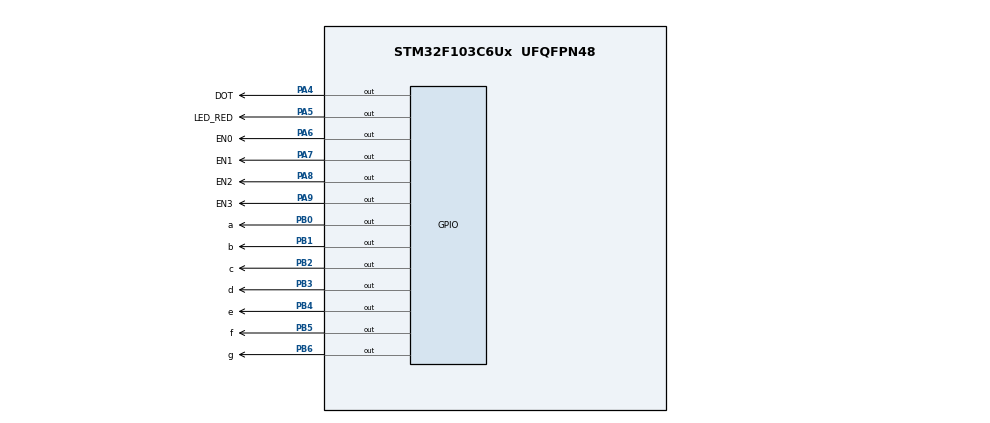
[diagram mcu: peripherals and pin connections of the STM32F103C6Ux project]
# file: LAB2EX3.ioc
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Mcu.Family=STM32F1
Mcu.Name=STM32F103C6Ux
Mcu.Package=UFQFPN48
NVIC.PriorityGroup=NVIC_PRIORITYGROUP_4
NVIC.TIM2_IRQn=true\:0\:0\:false\:false\:true\:true\:true
PA4.GPIO_Label=DOT
PA4.Signal=GPIO_Output
PA5.GPIO_Label=LED_RED
PA5.Signal=GPIO_Output
PA6.GPIO_Label=EN0
PA6.Signal=GPIO_Output
PA7.GPIO_Label=EN1
PA7.Signal=GPIO_Output
PA8.GPIO_Label=EN2
PA8.Signal=GPIO_Output
PA9.GPIO_Label=EN3
PA9.Signal=GPIO_Output
PB0.GPIO_Label=a
PB0.Signal=GPIO_Output
PB1.GPIO_Label=b
PB1.Signal=GPIO_Output
PB2.GPIO_Label=c
PB2.Signal=GPIO_Output
PB3.GPIO_Label=d
PB3.Signal=GPIO_Output
PB4.GPIO_Label=e
PB4.Signal=GPIO_Output
PB5.GPIO_Label=f
PB5.Signal=GPIO_Output
PB6.GPIO_Label=g
PB6.Signal=GPIO_Output
ProjectManager.HeapSize=0x200
ProjectManager.StackSize=0x400
ProjectManager.TargetToolchain=STM32CubeIDE
RCC.APB1Freq_Value=8000000
RCC.APB2Freq_Value=8000000
TIM2.Period=9
TIM2.Prescaler=7999
VP_SYS_VS_ND.Mode=No_Debug
VP_TIM2_VS_ClockSourceINT.Mode=Internal
board=custom

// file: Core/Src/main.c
/* USER CODE BEGIN Header */
/**
  ******************************************************************************
  * @file           : main.c
  * @brief          : Main program body
  ******************************************************************************
  * @attention
  *
  * <h2><center>&copy; Copyright (c) 2026 STMicroelectronics.
  * All rights reserved.</center></h2>
  *
  * This software component is licensed by ST under BSD 3-Clause license,
  * the "License"; You may not use this file except in compliance with the
  * License. You may obtain a copy of the License at:
  *                        opensource.org/licenses/BSD-3-Clause
  *
  ******************************************************************************
  */
/* USER CODE END Header */
#include "main.h"

TIM_HandleTypeDef htim2;

/* USER CODE BEGIN PV */
int switchCounter = 0;
int dotCounter = 0;
int displayIndex = 0;

void display7SEG(int num)
{
    const uint8_t code[10][7] =
    {
        {1,1,1,1,1,1,0}, // 0
        {0,1,1,0,0,0,0}, // 1
        {1,1,0,1,1,0,1}, // 2
        {1,1,1,1,0,0,1}, // 3
        {0,1,1,0,0,1,1}, // 4
        {1,0,1,1,0,1,1}, // 5
        {1,0,1,1,1,1,1}, // 6
        {1,1,1,0,0,0,0}, // 7
        {1,1,1,1,1,1,1}, // 8
        {1,1,1,1,0,1,1}  // 9
    };

    uint16_t pin[7] =
    {
        a_Pin,
        b_Pin,
        c_Pin,
        d_Pin,
        e_Pin,
        f_Pin,
        g_Pin
    };

    for (int i = 0; i < 7; i++)
    {
        HAL_GPIO_WritePin(GPIOB,pin[i], code[num][i] ? GPIO_PIN_RESET : GPIO_PIN_SET);
    }
}

//ex3
const int MAX_LED = 4;
int index_led = 0;
int led_buffer[4] = {1, 2, 3, 4};
void update7SEG(int index) {
	//anode led
	HAL_GPIO_WritePin(EN0_GPIO_Port, EN0_Pin, GPIO_PIN_SET);
	HAL_GPIO_WritePin(EN1_GPIO_Port, EN1_Pin, GPIO_PIN_SET);
	HAL_GPIO_WritePin(EN2_GPIO_Port, EN2_Pin, GPIO_PIN_SET);
	HAL_GPIO_WritePin(EN3_GPIO_Port, EN3_Pin, GPIO_PIN_SET);
	switch (index) {
	case 0:
		display7SEG(led_buffer[0]);
		HAL_GPIO_WritePin(EN0_GPIO_Port, EN0_Pin, GPIO_PIN_RESET);
		break;
	case 1:
		display7SEG(led_buffer[1]);
		HAL_GPIO_WritePin(EN1_GPIO_Port, EN1_Pin, GPIO_PIN_RESET);
		break;
	case 2:
		display7SEG(led_buffer[2]);
		HAL_GPIO_WritePin(EN2_GPIO_Port, EN2_Pin, GPIO_PIN_RESET);
		break;
	case 3:
		display7SEG(led_buffer[3]);
		HAL_GPIO_WritePin(EN3_GPIO_Port, EN3_Pin, GPIO_PIN_RESET);
		break;
	default:
		break;
	}
}

//EX4
int ledScanCounter = 0;

//ex5
int hour = 15;
int minute = 8;
int second = 50;

void updateClockBuffer() {
	led_buffer[0] = hour/10;
	led_buffer[1] = hour%10;
	led_buffer[2] = minute/10;
	led_buffer[3] = minute%10;
}

//ex6
int timer0_counter = 0;
int timer0_flag = 0;
int TIMER_CYCLE = 10;
void setTimer0(int duration) {
	timer0_counter = duration / TIMER_CYCLE;
	timer0_flag = 0;
}

void timer_run() {
	if (timer0_counter > 0) {
		timer0_counter--;
		if (timer0_counter <= 0) {
			timer0_flag = 1;
		}
	}
}

//ex7
int timer1_counter = 0;
int timer1_flag = 0;

int timer2_counter = 0;
int timer2_flag = 0;

void setTimer1(int duration) {
	timer1_counter = duration / TIMER_CYCLE;
	timer1_flag = 0;
}

void setTimer2(int duration) {
	timer2_counter = duration / TIMER_CYCLE;
	timer2_flag = 0;
}

void timer1_run() {
	if (timer1_counter > 0) {
		timer1_counter--;
		if (timer1_counter <= 0) {
			timer1_flag = 1;
		}
	}
}

void timer2_run() {
	if (timer2_counter > 0) {
		timer2_counter--;
		if (timer2_counter <= 0) {
			timer2_flag = 1;
		}
	}
}

//ex8
int timer3_counter = 0;
int timer3_flag = 0;

void setTimer3(int duration) {
	timer3_counter = duration / TIMER_CYCLE;
	timer3_flag = 0;
}

void timer3_run() {
	if (timer3_counter > 0) {
		timer3_counter--;
		if (timer3_counter <= 0) {
			timer3_flag = 1;
		}
	}
}
/* USER CODE END PV */

void SystemClock_Config(void);
static void MX_GPIO_Init(void);
static void MX_TIM2_Init(void);

int main(void)
{

  /* MCU Configuration--------------------------------------------------------*/

  /* Reset of all peripherals, Initializes the Flash interface and the Systick. */
  HAL_Init();

  /* Configure the system clock */
  SystemClock_Config();

  /* USER CODE BEGIN SysInit */
  SystemClock_Config () ;
  /* USER CODE END SysInit */

  /* Initialize all configured peripherals */
  MX_GPIO_Init();
  MX_TIM2_Init();
  /* USER CODE BEGIN 2 */

  /* Configure the system clock */

  /* USER CODE BEGIN SysInit */
  SystemClock_Config () ;
  /* USER CODE END SysInit */

  /* Initialize all configured peripherals */
  MX_GPIO_Init();
  MX_TIM2_Init();

  HAL_TIM_Base_Start_IT(&htim2);
  updateClockBuffer(); // ex5
  /* USER CODE BEGIN 2 */
  /* USER CODE END 2 */

  /* Infinite loop */
  /* USER CODE BEGIN WHILE */
//ex6
  setTimer0(1000);

//ex7
  setTimer1(1000);
  setTimer2(1000);

//ex8
  setTimer3(250);
  while (1)
  {
    /* USER CODE END WHILE */
//ex5
//	second++;
//	if (second >= 60) {
//		second = 0;
//		minute++;
//	}
//
//	if (minute >= 60) {
//		minute = 0;
//		hour++;
//	}
//
//	if (hour >= 24) {
//		hour = 0;
//	}
//
//	updateClockBuffer();
//	HAL_Delay(1000);

//ex6
//	if (timer0_flag == 1) {
//		HAL_GPIO_TogglePin(LED_RED_GPIO_Port, LED_RED_Pin);
//		setTimer0(2000);
//	}

//ex7
	if (timer1_flag == 1) {
		second++;
		if (second >= 60) {
			second = 0;
			minute++;
		}
		if (minute >= 60) {
			minute = 0;
			hour++;
		}
		if (hour >= 24) {
			hour = 0;
		}
		updateClockBuffer();
		setTimer1(1000);
	}

	if (timer2_flag == 1) {
		HAL_GPIO_TogglePin(DOT_GPIO_Port, DOT_Pin);
		setTimer2(1000);
	}

	if (timer0_flag == 1) {
		HAL_GPIO_TogglePin(LED_RED_GPIO_Port, LED_RED_Pin);
		setTimer0(2000);
	}

//ex8
	if (timer3_flag == 1) {
		update7SEG(index_led);
		index_led++;
		if (index_led >= MAX_LED) {
			index_led = 0;
		}
		setTimer3(250);
	}
  }
}

void SystemClock_Config(void)
{
  RCC_OscInitTypeDef RCC_OscInitStruct = {0};
  RCC_ClkInitTypeDef RCC_ClkInitStruct = {0};

  /** Initializes the RCC Oscillators according to the specified parameters
  * in the RCC_OscInitTypeDef structure.
  */
  RCC_OscInitStruct.OscillatorType = RCC_OSCILLATORTYPE_HSI;
  RCC_OscInitStruct.HSIState = RCC_HSI_ON;
  RCC_OscInitStruct.HSICalibrationValue = RCC_HSICALIBRATION_DEFAULT;
  RCC_OscInitStruct.PLL.PLLState = RCC_PLL_NONE;
  if (HAL_RCC_OscConfig(&RCC_OscInitStruct) != HAL_OK)
  {
    Error_Handler();
  }
  /** Initializes the CPU, AHB and APB buses clocks
  */
  RCC_ClkInitStruct.ClockType = RCC_CLOCKTYPE_HCLK|RCC_CLOCKTYPE_SYSCLK
                              |RCC_CLOCKTYPE_PCLK1|RCC_CLOCKTYPE_PCLK2;
  RCC_ClkInitStruct.SYSCLKSource = RCC_SYSCLKSOURCE_HSI;
  RCC_ClkInitStruct.AHBCLKDivider = RCC_SYSCLK_DIV1;
  RCC_ClkInitStruct.APB1CLKDivider = RCC_HCLK_DIV1;
  RCC_ClkInitStruct.APB2CLKDivider = RCC_HCLK_DIV1;

  if (HAL_RCC_ClockConfig(&RCC_ClkInitStruct, FLASH_LATENCY_0) != HAL_OK)
  {
    Error_Handler();
  }
}

static void MX_TIM2_Init(void)
{

  TIM_ClockConfigTypeDef sClockSourceConfig = {0};
  TIM_MasterConfigTypeDef sMasterConfig = {0};

  htim2.Instance = TIM2;
  htim2.Init.Prescaler = 7999;
  htim2.Init.CounterMode = TIM_COUNTERMODE_UP;
  htim2.Init.Period = 9;
  htim2.Init.ClockDivision = TIM_CLOCKDIVISION_DIV1;
  htim2.Init.AutoReloadPreload = TIM_AUTORELOAD_PRELOAD_DISABLE;
  if (HAL_TIM_Base_Init(&htim2) != HAL_OK)
  {
    Error_Handler();
  }
  sClockSourceConfig.ClockSource = TIM_CLOCKSOURCE_INTERNAL;
  if (HAL_TIM_ConfigClockSource(&htim2, &sClockSourceConfig) != HAL_OK)
  {
    Error_Handler();
  }
  sMasterConfig.MasterOutputTrigger = TIM_TRGO_RESET;
  sMasterConfig.MasterSlaveMode = TIM_MASTERSLAVEMODE_DISABLE;
  if (HAL_TIMEx_MasterConfigSynchronization(&htim2, &sMasterConfig) != HAL_OK)
  {
    Error_Handler();
  }

}

static void MX_GPIO_Init(void)
{
  GPIO_InitTypeDef GPIO_InitStruct = {0};

  /* GPIO Ports Clock Enable */
  __HAL_RCC_GPIOA_CLK_ENABLE();
  __HAL_RCC_GPIOB_CLK_ENABLE();

  /*Configure GPIO pin Output Level */
  HAL_GPIO_WritePin(GPIOA, DOT_Pin|LED_RED_Pin|EN0_Pin|EN1_Pin
                          |EN2_Pin|EN3_Pin, GPIO_PIN_RESET);

  /*Configure GPIO pin Output Level */
  HAL_GPIO_WritePin(GPIOB, a_Pin|b_Pin|c_Pin|d_Pin
                          |e_Pin|f_Pin|g_Pin, GPIO_PIN_RESET);

  /*Configure GPIO pins : DOT_Pin LED_RED_Pin EN0_Pin EN1_Pin
                           EN2_Pin EN3_Pin */
  GPIO_InitStruct.Pin = DOT_Pin|LED_RED_Pin|EN0_Pin|EN1_Pin
                          |EN2_Pin|EN3_Pin;
  GPIO_InitStruct.Mode = GPIO_MODE_OUTPUT_PP;
  GPIO_InitStruct.Pull = GPIO_NOPULL;
  GPIO_InitStruct.Speed = GPIO_SPEED_FREQ_LOW;
  HAL_GPIO_Init(GPIOA, &GPIO_InitStruct);

  /*Configure GPIO pins : a_Pin b_Pin c_Pin d_Pin
                           e_Pin f_Pin g_Pin */
  GPIO_InitStruct.Pin = a_Pin|b_Pin|c_Pin|d_Pin
                          |e_Pin|f_Pin|g_Pin;
  GPIO_InitStruct.Mode = GPIO_MODE_OUTPUT_PP;
  GPIO_InitStruct.Pull = GPIO_NOPULL;
  GPIO_InitStruct.Speed = GPIO_SPEED_FREQ_LOW;
  HAL_GPIO_Init(GPIOB, &GPIO_InitStruct);

}

/* USER CODE BEGIN 4 */

void HAL_TIM_PeriodElapsedCallback ( TIM_HandleTypeDef * htim ) {
	if (htim->Instance == TIM2) {
//EX3
//		switchCounter++;
//		if (switchCounter >= 51) {
//			switchCounter = 0;
//			update7SEG(index_led);
//			index_led++;
//			if (index_led >= MAX_LED) {
//				index_led = 0;
//			}
//		}
//
//		dotCounter++;
//		if (dotCounter >= 101) {
//			dotCounter = 0;
//			HAL_GPIO_TogglePin(DOT_GPIO_Port, DOT_Pin);
//		}

//EX4,5
//		ledScanCounter++;
//
//		if (ledScanCounter >= 25) {
//			ledScanCounter = 0;
//			update7SEG(index_led);
//			index_led++;
//			if (index_led >= MAX_LED) {
//				index_led = 0;
//			}
//		}
//
//		dotCounter++;
//		if (dotCounter >= 100) {
//			dotCounter = 0;
//			HAL_GPIO_TogglePin(DOT_GPIO_Port, DOT_Pin);
//		}
//	}

//ex6
//	timer_run();

//ex7
//		ledScanCounter++;
//		if (ledScanCounter >= 25) {
//			ledScanCounter = 0;
//			update7SEG(index_led);
//			index_led++;
//			if (index_led >= MAX_LED) {
//				index_led = 0;
//			}
//		}
//		timer_run();
//		timer1_run();
//		timer2_run();
//ex8
		timer_run();
		timer1_run();
		timer2_run();
		timer3_run();
	}
}
/* USER CODE END 4 */

void Error_Handler(void)
{
  __disable_irq();
  while (1)
  {
  }
}

/************************ (C) COPYRIGHT STMicroelectronics *****END OF FILE****/
